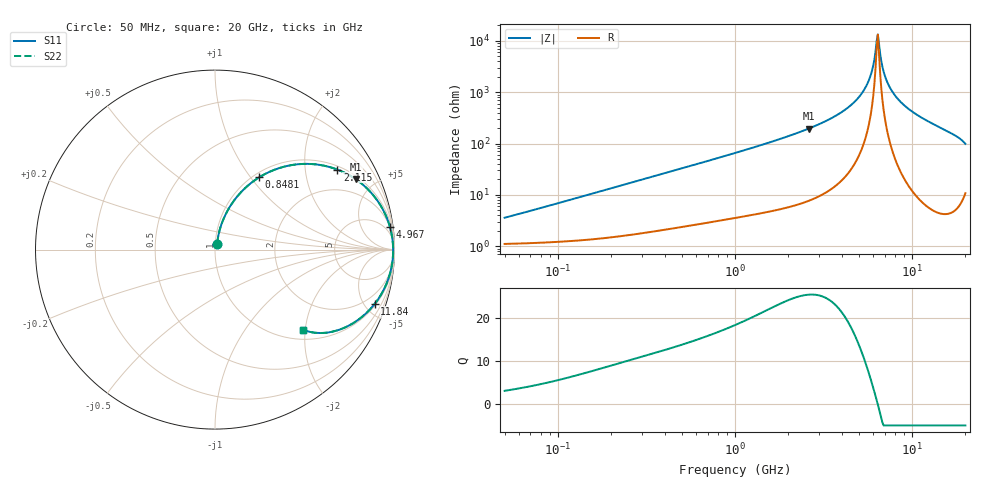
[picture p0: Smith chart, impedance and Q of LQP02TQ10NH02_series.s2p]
!Murata Part Number: LQP02TQ10NH02
!These Parameters are Measured in Series Mode Connection
!  o--[Z]--o
!Port1  Port2
!  o-------o
!Freq. Start=50[MHz] Stop=20[GHz], 401[Steps]
# Hz S RI R 50
!Freq.(Hz) S11(Real) S11(Imag) S21(Real) S21(Imag) S12(Real) S12(Imag) S22(Real) S22(Imag)
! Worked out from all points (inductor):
!   401 points, 50 MHz to 20 GHz, reference 50 ohm
!   read as one part in series: L = 10.8 nH near 51.52 MHz
!   highest Q = 25.5 at 2.608 GHz (marker M1), where L = 11.9 nH
!   self-resonance near 6.312 GHz
!   S11 on the Smith chart (normalised r, x): 50 MHz: 1.02, +0.07; 848.1 MHz: 1.06, +1.10; 2.115 GHz: 1.12, +2.97; 4.967 GHz: 2, +15; 11.84 GHz: 1.13, -5.83; 20 GHz: 1.22, -1.95
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5e7  0.0121 0.0333  0.9879 -0.0333  0.9879 -0.0333  0.0121 0.0333
1.364002e8  0.0209 0.0887  0.9791 -0.0887  0.9791 -0.0887  0.0209 0.0887
3.721004e8  0.073 0.2224  0.927 -0.2224  0.927 -0.2224  0.073 0.2224
8.480927e8  0.2464 0.4028  0.7536 -0.4028  0.7536 -0.4028  0.2464 0.4028
1e9  0.3085 0.4355  0.6915 -0.4355  0.6915 -0.4355  0.3085 0.4355
2.114743e9  0.6819 0.4459  0.3181 -0.4459  0.3181 -0.4459  0.6819 0.4459
2.608132e9  0.7834 0.3928  0.2166 -0.3928  0.2166 -0.3928  0.7834 0.3928
2.728004e9  0.8032 0.3785  0.1968 -0.3785  0.1968 -0.3785  0.8032 0.3785
3.908127e9  0.9281 0.2365  0.0719 -0.2365  0.0719 -0.2365  0.9281 0.2365
4.966507e9  0.9751 0.1246  0.0249 -0.1246  0.0249 -0.1246  0.9751 0.1246
5.433528e9  0.985 0.0808  0.015 -0.0808  0.015 -0.0808  0.985 0.0808
5.769027e9  0.9894 0.0512  0.0106 -0.0512  0.0106 -0.0512  0.9894 0.0512
6.034176e9  0.9915 0.0289  0.00855 -0.0289  0.00855 -0.0289  0.9915 0.0289
6.217679e9  0.9923 0.014  0.00775 -0.014  0.00775 -0.014  0.9923 0.014
6.406762e9  0.9926 -0.000955  0.00741 0.000955  0.00741 0.000955  0.9926 -0.000955
6.503449e9  0.9926 -0.00844  0.00742 0.00844  0.00742 0.00844  0.9926 -0.00844
6.905011e9  0.9914 -0.0384  0.00861 0.0384  0.00861 0.0384  0.9914 -0.0384
7.442007e9  0.9873 -0.076  0.0127 0.076  0.0127 0.076  0.9873 -0.076
8.907419e9  0.9649 -0.1658  0.0351 0.1658  0.0351 0.1658  0.9649 -0.1658
1.183995e10  0.8894 -0.3029  0.1106 0.3029  0.1106 0.3029  0.8894 -0.3029
1.621653e10  0.7288 -0.4317  0.2712 0.4317  0.2712 0.4317  0.7288 -0.4317
2e10  0.4924 -0.4478  0.5076 0.4478  0.5076 0.4478  0.4924 -0.4478
